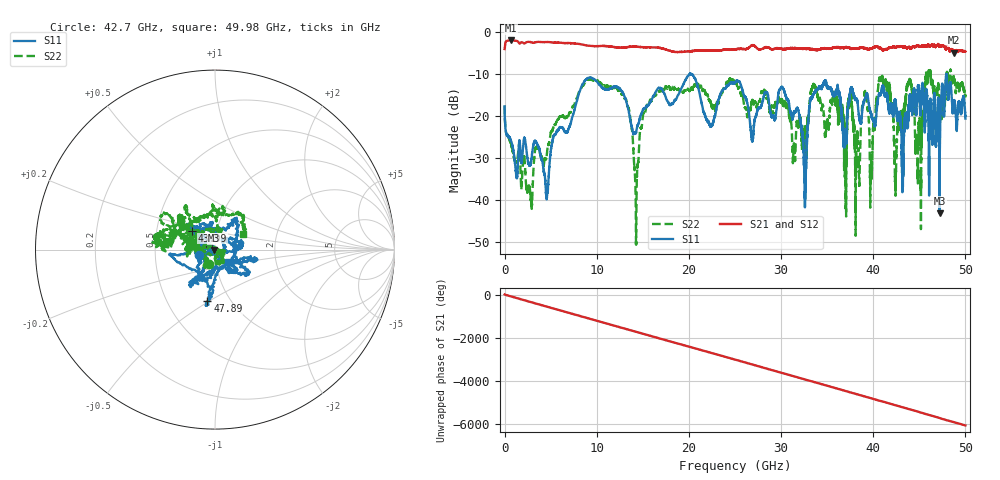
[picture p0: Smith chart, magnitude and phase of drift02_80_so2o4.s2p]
!Created with skrf (http://scikit-rf.org).
# Hz S RI R 50.0
!freq ReS11 ImS11 ReS21 ImS21 ReS12 ImS12 ReS22 ImS22
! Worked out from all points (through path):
!   10001 points, 300 kHz to 50 GHz, reference 50 ohm
!   highest |S21| = -1.99 dB at 645.3 MHz (marker M1); lowest = -4.9 dB at 48.77 GHz (marker M2)
!   group delay of S21, straight-line fit = 337 ps
!   lowest |S11| = -43.2 dB at 47.2 GHz (marker M3), VSWR 1.01, Z = 49.4 - j0.319 ohm
!   |S11| at or under -10 dB: start of sweep to 20.06 GHz; 20.24 GHz to 47.91 GHz (27.67 GHz wide, 81.2 % of centre); 47.92 GHz to end of sweep (the widest 3 of 8)
!   |S22| runs from -51.0 to -8.9 dB; largest |S21 - S12| = 0.035
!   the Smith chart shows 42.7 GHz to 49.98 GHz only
!   S11 on the Smith chart (normalised r, x): 42.7 GHz: 0.83, -0.05; 43.99 GHz: 0.76, +0.17; 47.89 GHz: 0.78, -0.49; 49.98 GHz: 1.15, -0.15
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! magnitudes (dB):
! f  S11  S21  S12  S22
! 300 kHz  -17.8  -4.0  -4.0  -17.5
! 645.3 MHz  -25.7  -2.0  -2.0  -26.5
! 4.575 GHz  -39.3  -2.4  -2.4  -29.1
! 8.335 GHz  -13.0  -2.9  -2.9  -13.2
! 13.01 GHz  -15.3  -3.6  -3.6  -15.7
! 14.28 GHz  -23.8  -3.5  -3.5  -49.3
! 16.67 GHz  -13.3  -3.7  -3.7  -14.5
! 25 GHz  -12.1  -4.1  -4.1  -12.1
! 30.19 GHz  -13.3  -4.1  -4.1  -17.0
! 32.58 GHz  -39.2  -3.9  -4.0  -24.6
! 33.34 GHz  -15.6  -4.0  -4.0  -13.6
! 38.29 GHz  -16.7  -3.9  -3.9  -24.0
! 41.67 GHz  -18.3  -3.8  -3.9  -12.6
! 42.7 GHz  -20.4  -3.5  -3.5  -20.9
! 43.99 GHz  -15.6  -3.8  -3.8  -11.2
! 44.99 GHz  -14.4  -3.4  -3.3  -21.5
! 45.91 GHz  -17.9  -3.2  -3.2  -10.4
! 47.2 GHz  -43.2  -3.5  -3.4  -16.5
! 47.89 GHz  -10.7  -4.1  -4.1  -12.2
! 48.77 GHz  -17.0  -4.9  -4.8  -10.6
! 49.98 GHz  -20.0  -4.6  -4.5  -15.0
! 50 GHz  -20.6  -4.6  -4.6  -15.6
